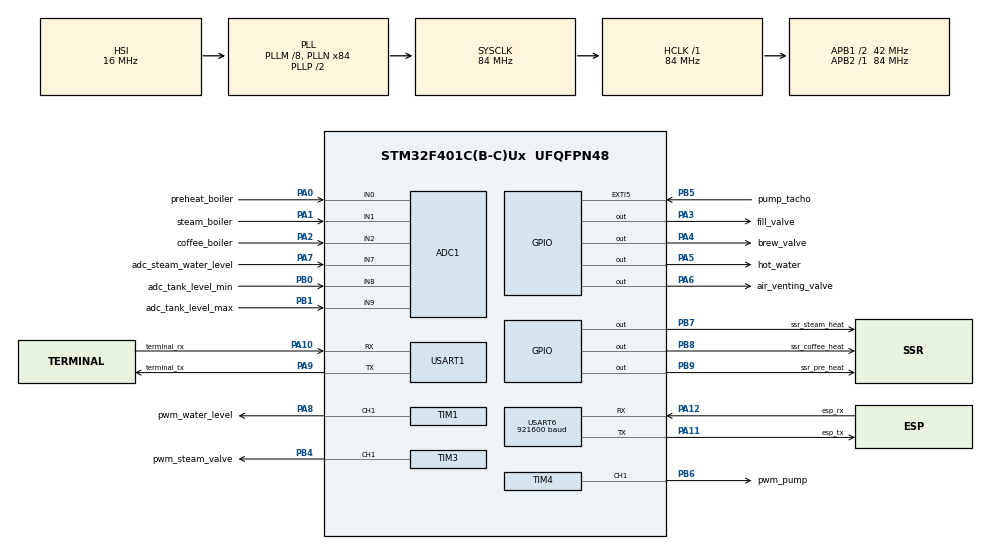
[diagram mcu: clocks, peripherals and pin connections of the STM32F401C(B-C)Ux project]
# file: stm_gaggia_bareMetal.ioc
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ADC1.Channel-0\#ChannelRegularConversion=ADC_CHANNEL_0
ADC1.Channel-1\#ChannelRegularConversion=ADC_CHANNEL_1
ADC1.Channel-2\#ChannelRegularConversion=ADC_CHANNEL_2
ADC1.Channel-3\#ChannelRegularConversion=ADC_CHANNEL_7
ADC1.Channel-4\#ChannelRegularConversion=ADC_CHANNEL_8
ADC1.Channel-5\#ChannelRegularConversion=ADC_CHANNEL_9
ADC1.ContinuousConvMode=ENABLE
ADC1.DMAContinuousRequests=ENABLE
ADC1.DiscontinuousConvMode=DISABLE
ADC1.ExternalTrigConv=ADC_SOFTWARE_START
ADC1.NbrOfConversion=6
ADC1.NbrOfConversionFlag=1
ADC1.Rank-0\#ChannelRegularConversion=1
ADC1.Rank-1\#ChannelRegularConversion=2
ADC1.Rank-2\#ChannelRegularConversion=3
ADC1.Rank-3\#ChannelRegularConversion=4
ADC1.Rank-4\#ChannelRegularConversion=5
ADC1.Rank-5\#ChannelRegularConversion=6
ADC1.SamplingTime-0\#ChannelRegularConversion=ADC_SAMPLETIME_480CYCLES
ADC1.SamplingTime-1\#ChannelRegularConversion=ADC_SAMPLETIME_480CYCLES
ADC1.SamplingTime-2\#ChannelRegularConversion=ADC_SAMPLETIME_3CYCLES
ADC1.SamplingTime-3\#ChannelRegularConversion=ADC_SAMPLETIME_480CYCLES
ADC1.SamplingTime-4\#ChannelRegularConversion=ADC_SAMPLETIME_480CYCLES
ADC1.SamplingTime-5\#ChannelRegularConversion=ADC_SAMPLETIME_480CYCLES
ADC1.ScanConvMode=ENABLE
ADC1.master=1
Dma.ADC1.0.Direction=DMA_PERIPH_TO_MEMORY
Dma.ADC1.0.FIFOMode=DMA_FIFOMODE_DISABLE
Dma.ADC1.0.Instance=DMA2_Stream0
Dma.ADC1.0.MemDataAlignment=DMA_MDATAALIGN_HALFWORD
Dma.ADC1.0.MemInc=DMA_MINC_ENABLE
Dma.ADC1.0.Mode=DMA_CIRCULAR
Dma.ADC1.0.PeriphDataAlignment=DMA_PDATAALIGN_HALFWORD
Dma.ADC1.0.PeriphInc=DMA_PINC_DISABLE
Dma.ADC1.0.Priority=DMA_PRIORITY_LOW
Dma.Request0=ADC1
Dma.Request1=USART6_TX
Dma.Request2=USART6_RX
Dma.USART6_RX.2.Direction=DMA_PERIPH_TO_MEMORY
Dma.USART6_RX.2.FIFOMode=DMA_FIFOMODE_DISABLE
Dma.USART6_RX.2.Instance=DMA2_Stream1
Dma.USART6_RX.2.MemDataAlignment=DMA_MDATAALIGN_BYTE
Dma.USART6_RX.2.MemInc=DMA_MINC_ENABLE
Dma.USART6_RX.2.Mode=DMA_CIRCULAR
Dma.USART6_RX.2.PeriphDataAlignment=DMA_PDATAALIGN_BYTE
Dma.USART6_RX.2.PeriphInc=DMA_PINC_DISABLE
Dma.USART6_RX.2.Priority=DMA_PRIORITY_LOW
Dma.USART6_TX.1.Direction=DMA_MEMORY_TO_PERIPH
Dma.USART6_TX.1.FIFOMode=DMA_FIFOMODE_DISABLE
Dma.USART6_TX.1.Instance=DMA2_Stream6
Dma.USART6_TX.1.MemDataAlignment=DMA_MDATAALIGN_BYTE
Dma.USART6_TX.1.MemInc=DMA_MINC_ENABLE
Dma.USART6_TX.1.Mode=DMA_NORMAL
Dma.USART6_TX.1.PeriphDataAlignment=DMA_PDATAALIGN_BYTE
Dma.USART6_TX.1.PeriphInc=DMA_PINC_DISABLE
Dma.USART6_TX.1.Priority=DMA_PRIORITY_LOW
Mcu.Family=STM32F4
Mcu.Name=STM32F401C(B-C)Ux
Mcu.Package=UFQFPN48
NVIC.DMA2_Stream0_IRQn=true\:0\:0\:false\:false\:true\:false\:true\:true
NVIC.DMA2_Stream1_IRQn=true\:0\:0\:false\:false\:true\:false\:true\:true
NVIC.DMA2_Stream6_IRQn=true\:0\:0\:false\:false\:true\:false\:true\:true
NVIC.EXTI9_5_IRQn=true\:0\:0\:false\:false\:true\:true\:true\:true
NVIC.PriorityGroup=NVIC_PRIORITYGROUP_4
NVIC.USART6_IRQn=true\:0\:0\:false\:false\:true\:true\:true\:true
PA0-WKUP.GPIO_Label=preheat_boiler
PA0-WKUP.Signal=ADCx_IN0
PA1.GPIO_Label=steam_boiler
PA1.Signal=ADCx_IN1
PA10.GPIO_Label=terminal_rx
PA10.Mode=Asynchronous
PA10.Signal=USART1_RX
PA11.GPIO_Label=esp_tx
PA11.Mode=Asynchronous
PA11.Signal=USART6_TX
PA12.GPIO_Label=esp_rx
PA12.Mode=Asynchronous
PA12.Signal=USART6_RX
PA2.GPIO_Label=coffee_boiler
PA2.Signal=ADCx_IN2
PA3.GPIO_Label=fill_valve
PA3.GPIO_Speed=GPIO_SPEED_FREQ_LOW
PA3.PinState=GPIO_PIN_RESET
PA3.Signal=GPIO_Output
PA4.GPIO_Label=brew_valve
PA4.GPIO_Speed=GPIO_SPEED_FREQ_LOW
PA4.PinState=GPIO_PIN_RESET
PA4.Signal=GPIO_Output
PA5.GPIO_Label=hot_water
PA5.GPIO_Speed=GPIO_SPEED_FREQ_LOW
PA5.PinState=GPIO_PIN_RESET
PA5.Signal=GPIO_Output
PA6.GPIO_Label=air_venting_valve
PA6.Signal=GPIO_Output
PA7.GPIO_Label=adc_steam_water_level
PA7.Signal=ADCx_IN7
PA8.GPIO_Label=pwm_water_level
PA8.Signal=S_TIM1_CH1
PA9.GPIO_Label=terminal_tx
PA9.Mode=Asynchronous
PA9.Signal=USART1_TX
PB0.GPIO_Label=adc_tank_level_min
PB0.Signal=ADCx_IN8
PB1.GPIO_Label=adc_tank_level_max
PB1.Signal=ADCx_IN9
PB4.GPIO_Label=pwm_steam_valve
PB4.Signal=S_TIM3_CH1
PB5.GPIO_Label=pump_tacho
PB5.Signal=GPXTI5
PB6.GPIO_Label=pwm_pump
PB6.GPIO_Speed=GPIO_SPEED_FREQ_MEDIUM
PB6.Signal=S_TIM4_CH1
PB7.GPIO_Label=ssr_steam_heat
PB7.Signal=GPIO_Output
PB8.GPIO_Label=ssr_coffee_heat
PB8.Signal=GPIO_Output
PB9.GPIO_Label=ssr_pre_heat
PB9.Signal=GPIO_Output
PC14-OSC32_IN.Mode=LSE-External-Oscillator
PC14-OSC32_IN.Signal=RCC_OSC32_IN
PC15-OSC32_OUT.Mode=LSE-External-Oscillator
PC15-OSC32_OUT.Signal=RCC_OSC32_OUT
PH0\ -\ OSC_IN.Mode=HSE-External-Oscillator
PH0\ -\ OSC_IN.Signal=RCC_OSC_IN
PH1\ -\ OSC_OUT.Mode=HSE-External-Oscillator
PH1\ -\ OSC_OUT.Signal=RCC_OSC_OUT
ProjectManager.HeapSize=0x800
ProjectManager.StackSize=0x1000
ProjectManager.TargetToolchain=CMake
RCC.48MHZClocksFreq_Value=42000000
RCC.AHBFreq_Value=84000000
RCC.APB1CLKDivider=RCC_HCLK_DIV2
RCC.APB1Freq_Value=42000000
RCC.APB1TimFreq_Value=84000000
RCC.APB2Freq_Value=84000000
RCC.APB2TimFreq_Value=84000000
RCC.CortexFreq_Value=84000000
RCC.HCLKFreq_Value=84000000
RCC.HSE_VALUE=25000000
RCC.HSI_VALUE=16000000
RCC.PLLM=8
RCC.PLLN=84
RCC.SYSCLKFreq_VALUE=84000000
RCC.SYSCLKSource=RCC_SYSCLKSOURCE_PLLCLK
RCC.VCOOutputFreq_Value=168000000
SH.ADCx_IN0.0=ADC1_IN0,IN0
SH.ADCx_IN1.0=ADC1_IN1,IN1
SH.ADCx_IN2.0=ADC1_IN2,IN2
SH.ADCx_IN7.0=ADC1_IN7,IN7
SH.ADCx_IN8.0=ADC1_IN8,IN8
SH.ADCx_IN9.0=ADC1_IN9,IN9
SH.S_TIM1_CH1.0=TIM1_CH1,PWM Generation1 CH1
SH.S_TIM3_CH1.0=TIM3_CH1,PWM Generation1 CH1
SH.S_TIM4_CH1.0=TIM4_CH1,PWM Generation1 CH1
TIM1.Channel-PWM\ Generation1\ CH1=TIM_CHANNEL_1
TIM1.Period=499
TIM1.Prescaler=83
TIM1.Pulse-PWM\ Generation1\ CH1=250
TIM3.Channel-PWM\ Generation1\ CH1=TIM_CHANNEL_1
TIM3.Period=999
TIM3.Prescaler=119
TIM4.Channel-PWM\ Generation1\ CH1=TIM_CHANNEL_1
TIM4.Period=4199
USART1.VirtualMode=VM_ASYNC
USART6.BaudRate=921600
USART6.VirtualMode=VM_ASYNC
VP_TIM1_VS_ClockSourceINT.Mode=Internal
VP_TIM3_VS_ClockSourceINT.Mode=Internal
VP_TIM4_VS_ClockSourceINT.Mode=Internal
board=custom

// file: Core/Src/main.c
/* USER CODE BEGIN Header */
/**
 ******************************************************************************
 * @file           : main.c
 * @brief          : Main program body
 ******************************************************************************
 * @attention
 *
 * Copyright (c) 2026 STMicroelectronics.
 * All rights reserved.
 *
 * This software is licensed under terms that can be found in the LICENSE file
 * in the root directory of this software component.
 * If no LICENSE file comes with this software, it is provided AS-IS.
 *
 ******************************************************************************
 */
/* USER CODE END Header */
#include "main.h"
#include "adc.h"
#include "boiler_ctrl.h"
#include "dma.h"
#include "tim.h"
#include "usart.h"
#include "gpio.h"

/* USER CODE BEGIN Includes */
/* drivers */
#include "adc_dma.h"
#include "bldc_pump.h"
#include "heater.h"
#include "log.h"
#include "ntc_sensor.h"
#include "steam_pwm_valve.h"
#include "valves.h"
#include "water_level_steam.h"
#include "water_level_tank.h"
/* app */
#include "system_snapshot.h"
/* link */
#include "cmd_handler.h"
#include "esp_link.h"
#include "tlm_adapter.h"
#include "pid.h"
/* USER CODE END Includes */

/* USER CODE BEGIN PD */
#define NTC_10K_INIT {.sh_a = 1.042752e-03f, .sh_b = 2.513051e-04f, .sh_c = -4.180126e-09f, .r_pull = 1500.0f}
#define SENSORS_PERIOD_MS 50u
/* USER CODE END PD */

/* USER CODE BEGIN PV */

ntc_sensor_t ntc_preheat_sensor = NTC_10K_INIT;
ntc_sensor_t ntc_steam_sensor = NTC_10K_INIT;
ntc_sensor_t ntc_coffee_sensor = NTC_10K_INIT;

static bldc_pump_t pump;
static steam_pwm_valve_t steam_pwm_valve;
static water_level_tank_t tank_level_probe;
static water_probe_level_t steam_probe;

static pid_ctrl_t preheat_pid;
static pid_ctrl_t steam_pid;
static pid_ctrl_t coffee_pid;

static boiler_t preheat_boiler;
static boiler_t steam_boiler;
static boiler_t coffee_boiler;

static system_snapshot_t snapshot;
static msg_telemetry_t tlm;
static proto_frame_t rx_frame;

/* ESP link TX statistics (for debugging) */
static uint32_t count_ok, count_busy, count_error, count_timeout;

/* USER CODE END PV */

void SystemClock_Config(void);
/* USER CODE BEGIN PFP */
static void app_init(void);
static void link_service(void);
static void sensors_update(void);
static void telemetry_send(void);
/* USER CODE END PFP */

int main(void)
{

  /* MCU Configuration--------------------------------------------------------*/

  /* Reset of all peripherals, Initializes the Flash interface and the Systick. *c  HAL_Init();

  /* Configure the system clock */
  SystemClock_Config();

  /* Initialize all configured peripherals */
  MX_GPIO_Init();
  MX_DMA_Init();
  MX_ADC1_Init();
  MX_USART1_UART_Init();
  MX_TIM1_Init();
  MX_TIM4_Init();
  MX_TIM3_Init();
  MX_USART6_UART_Init();
  /* USER CODE BEGIN 2 */
  app_init();
      /* USER CODE END 2 */

      /* Infinite loop */
      /* USER CODE BEGIN WHILE */
      while (1)
  {
    link_service();

    heater_update_all();
    update_pump_tacho(&pump);
    steam_pwm_valve_update(&steam_pwm_valve);

    static uint32_t last_time = 0;
    uint32_t now = HAL_GetTick();
    if (now - last_time >= SENSORS_PERIOD_MS)
    {
      last_time = now;
      sensors_update();
      telemetry_send();
    }

    static uint32_t last_time_update_boiler = 0;
    if (now - last_time_update_boiler >= 500)
    {
      boiler_ctrl_update(&preheat_boiler);
      boiler_ctrl_update(&steam_boiler);
      boiler_ctrl_update(&coffee_boiler);
      last_time_update_boiler = now;
    }
    /* USER CODE END WHILE */

  }
}

void SystemClock_Config(void)
{
  RCC_OscInitTypeDef RCC_OscInitStruct = {0};
  RCC_ClkInitTypeDef RCC_ClkInitStruct = {0};

  /** Configure the main internal regulator output voltage
   */
  __HAL_RCC_PWR_CLK_ENABLE();
  __HAL_PWR_VOLTAGESCALING_CONFIG(PWR_REGULATOR_VOLTAGE_SCALE2);

  /** Initializes the RCC Oscillators according to the specified parameters
   * in the RCC_OscInitTypeDef structure.
   */
  RCC_OscInitStruct.OscillatorType = RCC_OSCILLATORTYPE_HSI;
  RCC_OscInitStruct.HSIState = RCC_HSI_ON;
  RCC_OscInitStruct.HSICalibrationValue = RCC_HSICALIBRATION_DEFAULT;
  RCC_OscInitStruct.PLL.PLLState = RCC_PLL_ON;
  RCC_OscInitStruct.PLL.PLLSource = RCC_PLLSOURCE_HSI;
  RCC_OscInitStruct.PLL.PLLM = 8;
  RCC_OscInitStruct.PLL.PLLN = 84;
  RCC_OscInitStruct.PLL.PLLP = RCC_PLLP_DIV2;
  RCC_OscInitStruct.PLL.PLLQ = 4;
  if (HAL_RCC_OscConfig(&RCC_OscInitStruct) != HAL_OK)
  {
    Error_Handler();
  }

  /** Initializes the CPU, AHB and APB buses clocks
   */
  RCC_ClkInitStruct.ClockType = RCC_CLOCKTYPE_HCLK | RCC_CLOCKTYPE_SYSCLK | RCC_CLOCKTYPE_PCLK1 | RCC_CLOCKTYPE_PCLK2;
  RCC_ClkInitStruct.SYSCLKSource = RCC_SYSCLKSOURCE_PLLCLK;
  RCC_ClkInitStruct.AHBCLKDivider = RCC_SYSCLK_DIV1;
  RCC_ClkInitStruct.APB1CLKDivider = RCC_HCLK_DIV2;
  RCC_ClkInitStruct.APB2CLKDivider = RCC_HCLK_DIV1;

  if (HAL_RCC_ClockConfig(&RCC_ClkInitStruct, FLASH_LATENCY_2) != HAL_OK)
  {
    Error_Handler();
  }
}

/* USER CODE BEGIN 4 */

/** Initialize drivers and the ESP link. */
static void app_init(void)
{
  reset_cause_save();

  if (adc_dma_init(&hadc1) != HAL_OK)
    Error_Handler();
  if (init_esp_link(&huart6) != HAL_OK)
    Error_Handler();

  valve_init();
  heaters_init();
  pump_init(&pump, &htim4, TIM_CHANNEL_1, pump_tacho_Pin);
  log_init(&huart1);
  init_ntc_sensor(&ntc_preheat_sensor, adc_dma_get_raw(ntc_preheat));
  init_ntc_sensor(&ntc_steam_sensor, adc_dma_get_raw(ntc_steam));
  init_ntc_sensor(&ntc_coffee_sensor, adc_dma_get_raw(ntc_coffee));
  init_water_level(&steam_probe, &htim1, TIM_CHANNEL_1);
  init_steam_pwm_valve(&steam_pwm_valve, &htim3, TIM_CHANNEL_1);
  init_water_level_tank(&tank_level_probe);
  if (init_pid(&preheat_pid, 10.0f, 3.0f, 0, 0.5f, 1000, 0) != HAL_OK || init_pid(&steam_pid, 10.0f, 3.0f, 0, 0.5f, 1000, 0) != HAL_OK || init_pid(&coffee_pid, 10.0f, 3.0f, 0, 0.5f, 1000, 0) != HAL_OK || init_boiler(&preheat_boiler, &ntc_preheat_sensor, &preheat_pid, PRE_HEATER, 95.0f, 70.0f) != HAL_OK || init_boiler(&steam_boiler, &ntc_steam_sensor, &steam_pid, STEAM_HEATER, 130.0f, 100.0f) != HAL_OK || init_boiler(&coffee_boiler, &ntc_coffee_sensor, &coffee_pid, COFFEE_HEATER, 100.0f, 50.0f) != HAL_OK)
  {
    heater_stop_all();
    while (1)
    {
      /* code */
    }

  }
  if(init_cmd_handler(&preheat_boiler, &steam_boiler, &coffee_boiler) != HAL_OK)
  {
    heater_stop_all();
    while(1)
    {

    }
  }
}

/** Receive and handle a command frame from the display, if any. */
static void link_service(void)
{
  if (esp_link_tx_ready() && esp_link_poll(&rx_frame))
  {
    cmd_send_hello();
    cmd_handler(&rx_frame);
  }
}

/** Read all sensors and refresh the system snapshot. */
static void sensors_update(void)
{
  get_temperature(&ntc_coffee_sensor, adc_dma_get_raw(ntc_coffee));
  get_temperature(&ntc_steam_sensor, adc_dma_get_raw(ntc_steam));
  get_temperature(&ntc_preheat_sensor, adc_dma_get_raw(ntc_preheat));
  water_probe_update(&steam_probe, adc_dma_get_amplitude(water_level_steam));
  water_tank_level_tank_update(&tank_level_probe,
                               adc_dma_get_amplitude(water_level_tank_min),
                               adc_dma_get_amplitude(water_level_tank_max));
  snapshot_update(&snapshot, &ntc_coffee_sensor, &ntc_steam_sensor, &ntc_preheat_sensor,
                  &pump, &steam_pwm_valve, &tank_level_probe, &steam_probe, &coffee_boiler, &steam_boiler, &preheat_boiler);
}

/** Convert the snapshot to a telemetry message and send it to the display. */
static void telemetry_send(void)
{
  tlm_from_snapshot(&snapshot, &tlm);

  switch (esp_link_send(MSG_TELEMETRY, &tlm, sizeof(tlm)))
  {
  case HAL_OK:
    count_ok++;
    break;
  case HAL_BUSY:
    count_busy++;
    break;
  case HAL_ERROR:
    count_error++;
    break;
  case HAL_TIMEOUT:
    count_timeout++;
    break;
  default:
    break;
  }
}

void HAL_GPIO_EXTI_Callback(uint16_t GPIO_Pin)
{
  pump.impulse_tacho++;
}
/* USER CODE END 4 */

void Error_Handler(void)
{
  /* USER CODE BEGIN Error_Handler_Debug */
  valve_closed_all();
  pump_stop(&pump);
  steam_pwm_valve_stop(&steam_pwm_valve);
  /* User can add his own implementation to report the HAL error return state */
  __disable_irq();
  while (1)
  {
  }
  /* USER CODE END Error_Handler_Debug */
}
